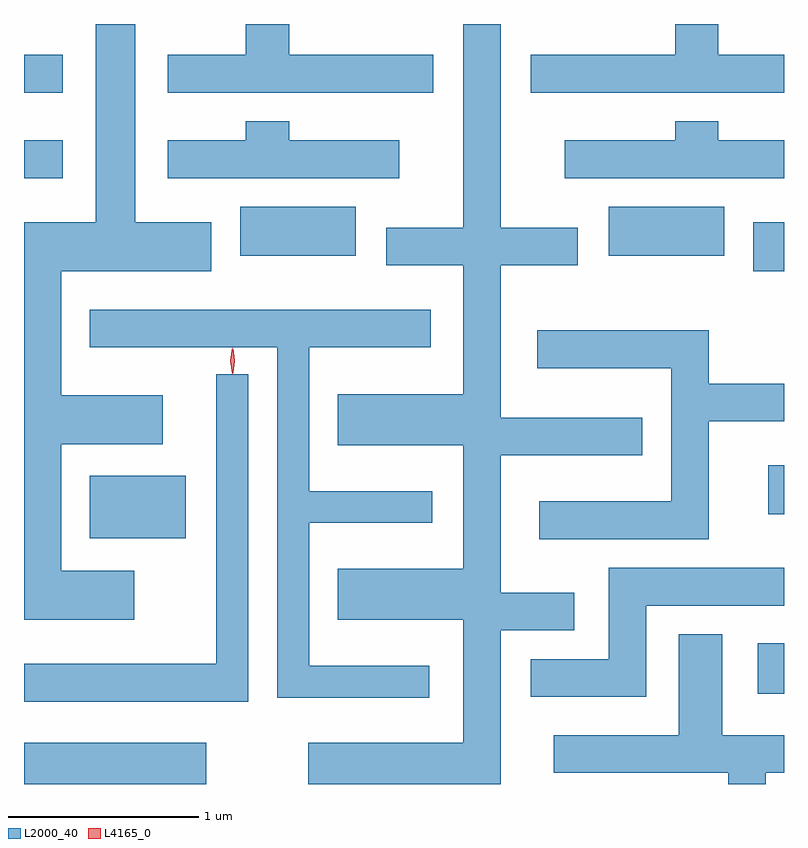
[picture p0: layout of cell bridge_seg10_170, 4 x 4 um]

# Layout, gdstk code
import gdstk
lib = gdstk.Library(unit=1e-6, precision=1e-09)
def R(c, l, rs):  # rectangles x0, y0, x1, y1
    for r in rs: c.add(gdstk.rectangle(r[:2], r[2:], *l))
def P(c, l, *ps):  # polygons
    for p in ps: c.add(gdstk.Polygon(p, *l))
L2000_40 = (2000, 40)
L4165_0 = (4165, 0)

bridge_seg10_170 = lib.new_cell('bridge_seg10_170')
R(bridge_seg10_170, L2000_40, [(1870.981,2140.017,1871.939,2140.234), (1874.841,2140.491,1874.979,2140.759), (1871.326,2141.311,1871.829,2141.639), (1874.896,2141.436,1874.979,2141.694), (1874.816,2142.716,1874.979,2142.974), (1872.116,2142.796,1872.724,2143.054), (1874.056,2142.796,1874.664,2143.054), (1870.979,2143.206,1871.184,2143.404), (1870.979,2143.656,1871.184,2143.854)])
P(bridge_seg10_170, L2000_40, [(1871.559,2141.139),(1871.174,2141.139),(1871.174,2141.806),(1871.709,2141.806),(1871.709,2142.064),(1871.174,2142.064),(1871.174,2142.716),(1871.964,2142.716),(1871.964,2142.974),(1871.564,2142.974),(1871.564,2144.017),(1871.356,2144.017),(1871.356,2142.974),(1870.979,2142.974),(1870.979,2140.881),(1871.559,2140.881)],
  [(1873.489,2140.826),(1873.874,2140.826),(1873.874,2141.024),(1873.489,2141.024),(1873.489,2141.746),(1874.234,2141.746),(1874.234,2141.944),(1873.489,2141.944),(1873.489,2142.746),(1873.894,2142.746),(1873.894,2142.944),(1873.489,2142.944),(1873.489,2144.017),(1873.291,2144.017),(1873.291,2142.944),(1872.886,2142.944),(1872.886,2142.746),(1873.291,2142.746),(1873.291,2142.069),(1872.631,2142.069),(1872.631,2141.801),(1873.291,2141.801),(1873.291,2141.149),(1872.631,2141.149),(1872.631,2140.881),(1873.291,2140.881),(1873.291,2140.234),(1872.476,2140.234),(1872.476,2140.017),(1873.489,2140.017)],
  [(1874.979,2143.854),(1874.634,2143.854),(1874.634,2144.017),(1874.406,2144.017),(1874.406,2143.854),(1873.646,2143.854),(1873.646,2143.656),(1874.979,2143.656)],
  [(1873.134,2143.854),(1872.374,2143.854),(1872.374,2144.017),(1872.146,2144.017),(1872.146,2143.854),(1871.736,2143.854),(1871.736,2143.656),(1873.134,2143.656)],
  [(1874.979,2143.404),(1874.634,2143.404),(1874.634,2143.504),(1874.406,2143.504),(1874.406,2143.404),(1873.826,2143.404),(1873.826,2143.206),(1874.979,2143.206)],
  [(1872.954,2143.404),(1872.374,2143.404),(1872.374,2143.504),(1872.146,2143.504),(1872.146,2143.404),(1871.736,2143.404),(1871.736,2143.206),(1872.954,2143.206)],
  [(1873.113,2140.639),(1872.479,2140.639),(1872.479,2141.391),(1873.128,2141.391),(1873.128,2141.559),(1872.479,2141.559),(1872.479,2142.316),(1873.119,2142.316),(1873.119,2142.514),(1871.326,2142.514),(1871.326,2142.316),(1872.311,2142.316),(1872.311,2140.471),(1873.113,2140.471)],
  [(1874.584,2141.926),(1874.979,2141.926),(1874.979,2142.124),(1874.584,2142.124),(1874.584,2142.404),(1873.681,2142.404),(1873.681,2142.206),(1874.386,2142.206),(1874.386,2141.504),(1873.691,2141.504),(1873.691,2141.306),(1874.584,2141.306)],
  [(1872.159,2142.173),(1871.991,2142.173),(1871.991,2140.649),(1870.979,2140.649),(1870.979,2140.451),(1872.159,2140.451)],
  [(1874.254,2140.956),(1874.979,2140.956),(1874.979,2141.154),(1874.056,2141.154),(1874.056,2140.674),(1873.646,2140.674),(1873.646,2140.476),(1874.254,2140.476)],
  [(1874.884,2140.076),(1874.979,2140.076),(1874.979,2140.274),(1874.654,2140.274),(1874.654,2140.804),(1874.426,2140.804),(1874.426,2140.274),(1873.766,2140.274),(1873.766,2140.076),(1874.686,2140.076),(1874.686,2140.017),(1874.884,2140.017)])
P(bridge_seg10_170, L4165_0, [(1872.075,2142.174),(1872.074,2142.175),(1872.065,2142.244),(1872.074,2142.313),(1872.075,2142.314),(1872.076,2142.313),(1872.085,2142.244),(1872.076,2142.175)],
  [(1872.078,2142.178),(1872.069,2142.244),(1872.079,2142.31),(1872.079,2142.311),(1872.08,2142.31),(1872.089,2142.244),(1872.079,2142.178),(1872.079,2142.178)])

lib.write_gds('bridge_seg10_170.gds')
